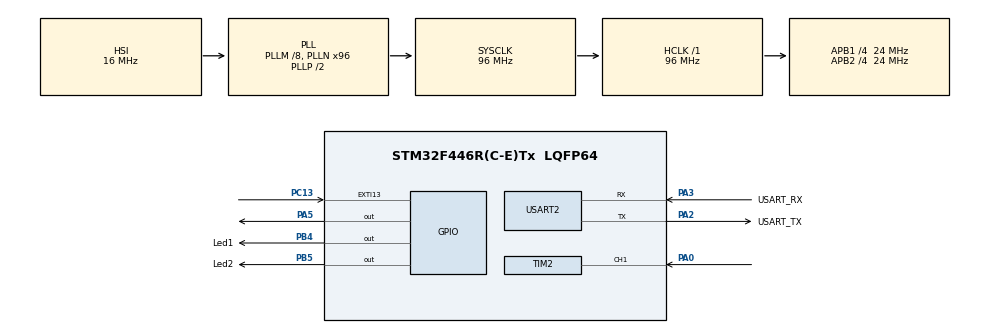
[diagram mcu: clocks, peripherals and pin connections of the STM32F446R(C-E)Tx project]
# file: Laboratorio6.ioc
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Mcu.Family=STM32F4
Mcu.Name=STM32F446R(C-E)Tx
Mcu.Package=LQFP64
NUCLEO-F446RE.BUTTON=1
NUCLEO-F446RE.LD1=true
NVIC.EXTI15_10_IRQn=true\:0\:0\:false\:false\:true\:false\:true\:true
NVIC.PriorityGroup=NVIC_PRIORITYGROUP_0
NVIC.TIM2_IRQn=true\:0\:0\:false\:false\:true\:true\:true\:true
NVIC.TIM3_IRQn=true\:0\:0\:false\:false\:true\:true\:true\:true
NVIC.TIM4_IRQn=true\:0\:0\:false\:false\:true\:true\:true\:true
NVIC.USART2_IRQn=true\:0\:0\:false\:false\:true\:true\:true\:true
PA0-WKUP.Signal=S_TIM2_CH1_ETR
PA13.GPIO_Label=TMS
PA13.Signal=SYS_JTMS-SWDIO
PA14.GPIO_Label=TCK
PA14.Signal=SYS_JTCK-SWCLK
PA2.GPIO_Label=USART_TX
PA2.Mode=Asynchronous
PA2.Signal=USART2_TX
PA3.GPIO_Label=USART_RX
PA3.Mode=Asynchronous
PA3.Signal=USART2_RX
PA5.Signal=GPIO_Output
PB3.GPIO_Label=SWO
PB3.Signal=SYS_JTDO-SWO
PB4.GPIO_Label=Led1
PB4.Signal=GPIO_Output
PB5.GPIO_Label=Led2
PB5.Signal=GPIO_Output
PC13.Signal=GPXTI13
PC14-OSC32_IN.Signal=RCC_OSC32_IN
PC15-OSC32_OUT.Signal=RCC_OSC32_OUT
PH0-OSC_IN.Signal=RCC_OSC_IN
PH1-OSC_OUT.Signal=RCC_OSC_OUT
ProjectManager.HeapSize=0x200
ProjectManager.StackSize=0x400
ProjectManager.TargetToolchain=STM32CubeIDE
RCC.AHBFreq_Value=96000000
RCC.APB1CLKDivider=RCC_HCLK_DIV4
RCC.APB1Freq_Value=24000000
RCC.APB1TimFreq_Value=48000000
RCC.APB2CLKDivider=RCC_HCLK_DIV4
RCC.APB2Freq_Value=24000000
RCC.APB2TimFreq_Value=48000000
RCC.CortexFreq_Value=96000000
RCC.FLatency-AdvancedSettings=FLASH_LATENCY_3
RCC.HCLKFreq_Value=96000000
RCC.HSE_VALUE=8000000
RCC.HSI_VALUE=16000000
RCC.LSE_VALUE=32768
RCC.PLLM=8
RCC.PLLN=96
RCC.SYSCLKFreq_VALUE=96000000
RCC.SYSCLKSource=RCC_SYSCLKSOURCE_PLLCLK
RCC.USBFreq_Value=96000000
RCC.VCOOutputFreq_Value=192000000
SH.S_TIM2_CH1_ETR.0=TIM2_CH1,Input_Capture1_from_TI1
TIM2.AutoReloadPreload=TIM_AUTORELOAD_PRELOAD_ENABLE
TIM2.Channel-Input_Capture1_from_TI1=TIM_CHANNEL_1
TIM2.Prescaler=48-1
TIM3.Period=250-1
TIM3.Prescaler=48000-1
TIM4.Period=1000-1
TIM4.Prescaler=48000-1
USART2.VirtualMode=VM_ASYNC
VP_NUCLEO-F446RE_VS_BSP_COMMON.Mode=COMMON
VP_TIM2_VS_ClockSourceINT.Mode=Internal
VP_TIM3_VS_ClockSourceINT.Mode=Internal
VP_TIM4_VS_ClockSourceINT.Mode=Internal
board=NUCLEO-F446RE

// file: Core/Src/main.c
/* USER CODE BEGIN Header */
/**
  ******************************************************************************
  * @file           : main.c
  * @brief          : Main program body
  ******************************************************************************
  * @attention
  *
  * Copyright (c) 2026 STMicroelectronics.
  * All rights reserved.
  *
  * This software is licensed under terms that can be found in the LICENSE file
  * in the root directory of this software component.
  * If no LICENSE file comes with this software, it is provided AS-IS.
  *
  ******************************************************************************
  */
/* USER CODE END Header */
#include "main.h"

/* USER CODE BEGIN Includes */
#include <string.h>
#include <stdio.h>

/* USER CODE END Includes */

/* USER CODE BEGIN PD */
#define ftimclk 1000000
#define timeout_ms 1000
#define periodouart 500

/* USER CODE END PD */

TIM_HandleTypeDef htim2;
TIM_HandleTypeDef htim3;
TIM_HandleTypeDef htim4;

UART_HandleTypeDef huart2;

/* USER CODE BEGIN PV */

uint16_t flagMedicion = 0;
volatile uint8_t periodoti = 0;
volatile uint16_t pricap= 0;
volatile uint16_t ulticap = 0;
volatile uint16_t capprev = 0;

uint16_t delta = 0;
float frecuencia;
char mensaje[50];

/* USER CODE END PV */

void SystemClock_Config(void);
static void MX_GPIO_Init(void);
static void MX_TIM2_Init(void);
static void MX_USART2_UART_Init(void);
static void MX_TIM3_Init(void);
static void MX_TIM4_Init(void);

int main(void)
{

  /* MCU Configuration--------------------------------------------------------*/

  /* Reset of all peripherals, Initializes the Flash interface and the Systick. */
  HAL_Init();

  /* Configure the system clock */
  SystemClock_Config();

  /* Initialize all configured peripherals */
  MX_GPIO_Init();
  MX_TIM2_Init();
  MX_USART2_UART_Init();
  MX_TIM3_Init();
  MX_TIM4_Init();
  /* USER CODE BEGIN 2 */

  HAL_TIM_IC_Start_IT(&htim2, TIM_CHANNEL_1);
  HAL_TIM_Base_Start_IT(&htim3);
  HAL_TIM_Base_Start_IT(&htim4);

  uint32_t tUART = HAL_GetTick();

  /* USER CODE END 2 */

  /* Initialize leds */
  BSP_LED_Init(LED2);

  /* Initialize USER push-button, will be used to trigger an interrupt each time it's pressed.*/
  BSP_PB_Init(BUTTON_USER, BUTTON_MODE_EXTI);

  /* Infinite loop */
  while (1)
  {

  }
}

void SystemClock_Config(void)
{
  RCC_OscInitTypeDef RCC_OscInitStruct = {0};
  RCC_ClkInitTypeDef RCC_ClkInitStruct = {0};

  /** Configure the main internal regulator output voltage
  */
  __HAL_RCC_PWR_CLK_ENABLE();
  __HAL_PWR_VOLTAGESCALING_CONFIG(PWR_REGULATOR_VOLTAGE_SCALE3);

  /** Initializes the RCC Oscillators according to the specified parameters
  * in the RCC_OscInitTypeDef structure.
  */
  RCC_OscInitStruct.OscillatorType = RCC_OSCILLATORTYPE_HSI;
  RCC_OscInitStruct.HSIState = RCC_HSI_ON;
  RCC_OscInitStruct.HSICalibrationValue = RCC_HSICALIBRATION_DEFAULT;
  RCC_OscInitStruct.PLL.PLLState = RCC_PLL_ON;
  RCC_OscInitStruct.PLL.PLLSource = RCC_PLLSOURCE_HSI;
  RCC_OscInitStruct.PLL.PLLM = 8;
  RCC_OscInitStruct.PLL.PLLN = 96;
  RCC_OscInitStruct.PLL.PLLP = RCC_PLLP_DIV2;
  RCC_OscInitStruct.PLL.PLLQ = 2;
  RCC_OscInitStruct.PLL.PLLR = 2;
  if (HAL_RCC_OscConfig(&RCC_OscInitStruct) != HAL_OK)
  {
    Error_Handler();
  }

  /** Initializes the CPU, AHB and APB buses clocks
  */
  RCC_ClkInitStruct.ClockType = RCC_CLOCKTYPE_HCLK|RCC_CLOCKTYPE_SYSCLK
                              |RCC_CLOCKTYPE_PCLK1|RCC_CLOCKTYPE_PCLK2;
  RCC_ClkInitStruct.SYSCLKSource = RCC_SYSCLKSOURCE_PLLCLK;
  RCC_ClkInitStruct.AHBCLKDivider = RCC_SYSCLK_DIV1;
  RCC_ClkInitStruct.APB1CLKDivider = RCC_HCLK_DIV4;
  RCC_ClkInitStruct.APB2CLKDivider = RCC_HCLK_DIV4;

  if (HAL_RCC_ClockConfig(&RCC_ClkInitStruct, FLASH_LATENCY_3) != HAL_OK)
  {
    Error_Handler();
  }
}

static void MX_TIM2_Init(void)
{

  TIM_ClockConfigTypeDef sClockSourceConfig = {0};
  TIM_MasterConfigTypeDef sMasterConfig = {0};
  TIM_IC_InitTypeDef sConfigIC = {0};

  htim2.Instance = TIM2;
  htim2.Init.Prescaler = 48-1;
  htim2.Init.CounterMode = TIM_COUNTERMODE_UP;
  htim2.Init.Period = 4294967295;
  htim2.Init.ClockDivision = TIM_CLOCKDIVISION_DIV1;
  htim2.Init.AutoReloadPreload = TIM_AUTORELOAD_PRELOAD_ENABLE;
  if (HAL_TIM_Base_Init(&htim2) != HAL_OK)
  {
    Error_Handler();
  }
  sClockSourceConfig.ClockSource = TIM_CLOCKSOURCE_INTERNAL;
  if (HAL_TIM_ConfigClockSource(&htim2, &sClockSourceConfig) != HAL_OK)
  {
    Error_Handler();
  }
  if (HAL_TIM_IC_Init(&htim2) != HAL_OK)
  {
    Error_Handler();
  }
  sMasterConfig.MasterOutputTrigger = TIM_TRGO_RESET;
  sMasterConfig.MasterSlaveMode = TIM_MASTERSLAVEMODE_DISABLE;
  if (HAL_TIMEx_MasterConfigSynchronization(&htim2, &sMasterConfig) != HAL_OK)
  {
    Error_Handler();
  }
  sConfigIC.ICPolarity = TIM_INPUTCHANNELPOLARITY_RISING;
  sConfigIC.ICSelection = TIM_ICSELECTION_DIRECTTI;
  sConfigIC.ICPrescaler = TIM_ICPSC_DIV1;
  sConfigIC.ICFilter = 0;
  if (HAL_TIM_IC_ConfigChannel(&htim2, &sConfigIC, TIM_CHANNEL_1) != HAL_OK)
  {
    Error_Handler();
  }

}

static void MX_TIM3_Init(void)
{

  TIM_ClockConfigTypeDef sClockSourceConfig = {0};
  TIM_MasterConfigTypeDef sMasterConfig = {0};

  htim3.Instance = TIM3;
  htim3.Init.Prescaler = 48000-1;
  htim3.Init.CounterMode = TIM_COUNTERMODE_UP;
  htim3.Init.Period = 250-1;
  htim3.Init.ClockDivision = TIM_CLOCKDIVISION_DIV1;
  htim3.Init.AutoReloadPreload = TIM_AUTORELOAD_PRELOAD_DISABLE;
  if (HAL_TIM_Base_Init(&htim3) != HAL_OK)
  {
    Error_Handler();
  }
  sClockSourceConfig.ClockSource = TIM_CLOCKSOURCE_INTERNAL;
  if (HAL_TIM_ConfigClockSource(&htim3, &sClockSourceConfig) != HAL_OK)
  {
    Error_Handler();
  }
  sMasterConfig.MasterOutputTrigger = TIM_TRGO_RESET;
  sMasterConfig.MasterSlaveMode = TIM_MASTERSLAVEMODE_DISABLE;
  if (HAL_TIMEx_MasterConfigSynchronization(&htim3, &sMasterConfig) != HAL_OK)
  {
    Error_Handler();
  }

}

static void MX_TIM4_Init(void)
{

  TIM_ClockConfigTypeDef sClockSourceConfig = {0};
  TIM_MasterConfigTypeDef sMasterConfig = {0};

  htim4.Instance = TIM4;
  htim4.Init.Prescaler = 48000-1;
  htim4.Init.CounterMode = TIM_COUNTERMODE_UP;
  htim4.Init.Period = 1000-1;
  htim4.Init.ClockDivision = TIM_CLOCKDIVISION_DIV1;
  htim4.Init.AutoReloadPreload = TIM_AUTORELOAD_PRELOAD_DISABLE;
  if (HAL_TIM_Base_Init(&htim4) != HAL_OK)
  {
    Error_Handler();
  }
  sClockSourceConfig.ClockSource = TIM_CLOCKSOURCE_INTERNAL;
  if (HAL_TIM_ConfigClockSource(&htim4, &sClockSourceConfig) != HAL_OK)
  {
    Error_Handler();
  }
  sMasterConfig.MasterOutputTrigger = TIM_TRGO_RESET;
  sMasterConfig.MasterSlaveMode = TIM_MASTERSLAVEMODE_DISABLE;
  if (HAL_TIMEx_MasterConfigSynchronization(&htim4, &sMasterConfig) != HAL_OK)
  {
    Error_Handler();
  }

}

static void MX_USART2_UART_Init(void)
{

  huart2.Instance = USART2;
  huart2.Init.BaudRate = 115200;
  huart2.Init.WordLength = UART_WORDLENGTH_8B;
  huart2.Init.StopBits = UART_STOPBITS_1;
  huart2.Init.Parity = UART_PARITY_NONE;
  huart2.Init.Mode = UART_MODE_TX_RX;
  huart2.Init.HwFlowCtl = UART_HWCONTROL_NONE;
  huart2.Init.OverSampling = UART_OVERSAMPLING_16;
  if (HAL_UART_Init(&huart2) != HAL_OK)
  {
    Error_Handler();
  }

}

static void MX_GPIO_Init(void)
{
  GPIO_InitTypeDef GPIO_InitStruct = {0};

  /* GPIO Ports Clock Enable */
  __HAL_RCC_GPIOC_CLK_ENABLE();
  __HAL_RCC_GPIOH_CLK_ENABLE();
  __HAL_RCC_GPIOA_CLK_ENABLE();
  __HAL_RCC_GPIOB_CLK_ENABLE();

  /*Configure GPIO pin Output Level */
  HAL_GPIO_WritePin(GPIOB, Led1_Pin|Led2_Pin, GPIO_PIN_RESET);

  /*Configure GPIO pins : Led1_Pin Led2_Pin */
  GPIO_InitStruct.Pin = Led1_Pin|Led2_Pin;
  GPIO_InitStruct.Mode = GPIO_MODE_OUTPUT_PP;
  GPIO_InitStruct.Pull = GPIO_NOPULL;
  GPIO_InitStruct.Speed = GPIO_SPEED_FREQ_LOW;
  HAL_GPIO_Init(GPIOB, &GPIO_InitStruct);

}

/* USER CODE BEGIN 4 */

void HAL_TIM_TriggerHalfCpltCallback(TIM_HandleTypeDef *htim){
	if (htim->Instance == TIM2 && htim->Channel == HAL_TIM_ACTIVE_CHANNEL_1)
	{
		uint32_t captura = HAL_TIM_ReadCapturedValue(htim, TIM_CHANNEL_1);

		if (pricap)
		{
			pricap = 0;          // todavia no hay flanco previo con que comparar
		}
		else
		{
			periodoti = captura - capprev;
		}
		capprev = captura;
		ulticap = HAL_GetTick();
	}
}

void HAL_TIM_PeriodElapsedCallback(TIM_HandleTypeDef *htim)
{
	if (htim->Instance == TIM3)
	{
		HAL_GPIO_TogglePin(Led1_GPIO_Port, Led1_Pin);
	}
	else if (htim->Instance == TIM4)
	{
		HAL_GPIO_TogglePin(Led2_GPIO_Port, Led2_Pin);
	}
}

/* USER CODE END 4 */

void Error_Handler(void)
{
  __disable_irq();
  while (1)
  {
  }
}
